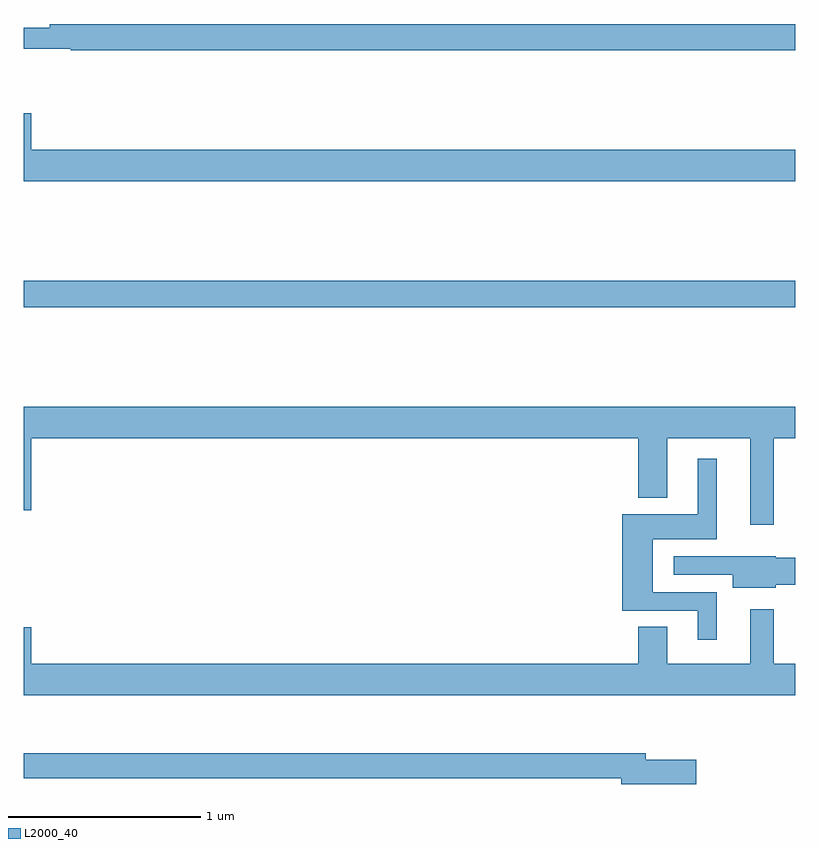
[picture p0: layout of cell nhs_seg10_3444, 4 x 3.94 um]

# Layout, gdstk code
import gdstk
lib = gdstk.Library(unit=1e-6, precision=1e-09)
def R(c, l, rs):  # rectangles x0, y0, x1, y1
    for r in rs: c.add(gdstk.rectangle(r[:2], r[2:], *l))
def P(c, l, *ps):  # polygons
    for p in ps: c.add(gdstk.Polygon(p, *l))
L2000_40 = (2000, 40)

nhs_seg10_3444 = lib.new_cell('nhs_seg10_3444')
R(nhs_seg10_3444, L2000_40, [(297,1324.972,301,1325.108)])
P(nhs_seg10_3444, L2000_40, [(301,1326.44),(297.136,1326.44),(297.136,1326.421),(297,1326.421),(297,1326.312),(297.245,1326.312),(297.245,1326.304),(301,1326.304)],
  [(301,1325.788),(297.04,1325.788),(297.04,1325.977),(297,1325.977),(297,1325.624),(301,1325.624)],
  [(297,1323.918),(297.04,1323.918),(297.04,1324.292),(300.185,1324.292),(300.185,1323.983),(300.337,1323.983),(300.337,1324.292),(300.767,1324.292),(300.767,1323.843),(300.889,1323.843),(300.889,1324.292),(301,1324.292),(301,1324.456),(297,1324.456)],
  [(300.592,1323.495),(300.262,1323.495),(300.262,1323.77),(300.592,1323.77),(300.592,1324.186),(300.494,1324.186),(300.494,1323.898),(300.104,1323.898),(300.104,1323.399),(300.494,1323.399),(300.494,1323.249),(300.592,1323.249)],
  [(300.9,1323.532),(301,1323.532),(301,1323.674),(300.9,1323.674),(300.9,1323.682),(300.681,1323.682),(300.681,1323.681),(300.369,1323.681),(300.369,1323.585),(300.677,1323.585),(300.677,1323.518),(300.9,1323.518)],
  [(301,1323.124),(300.889,1323.124),(300.889,1323.406),(300.767,1323.406),(300.767,1323.124),(300.337,1323.124),(300.337,1323.314),(300.185,1323.314),(300.185,1323.124),(297.04,1323.124),(297.04,1323.313),(297,1323.313),(297,1322.96),(301,1322.96)],
  [(300.487,1322.625),(300.226,1322.625),(300.226,1322.659),(297,1322.659),(297,1322.53),(300.098,1322.53),(300.098,1322.5),(300.487,1322.5)])

lib.write_gds('nhs_seg10_3444.gds')
